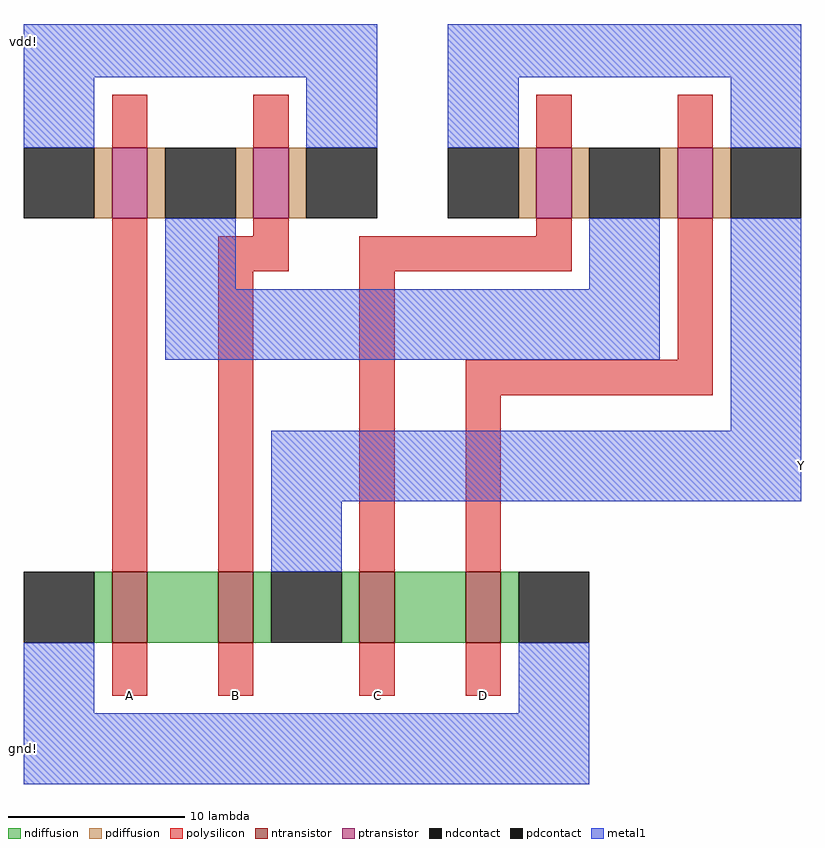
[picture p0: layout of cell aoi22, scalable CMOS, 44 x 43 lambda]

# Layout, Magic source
magic
tech scmos
<< ntransistor >>
rect 5 6 7 10
rect 11 6 13 10
rect 19 6 21 10
rect 25 6 27 10
<< ptransistor >>
rect 5 30 7 34
rect 13 30 15 34
rect 29 30 31 34
rect 37 30 39 34
<< ndiffusion >>
rect 4 6 5 10
rect 7 6 11 10
rect 13 6 14 10
rect 18 6 19 10
rect 21 6 25 10
rect 27 6 28 10
<< pdiffusion >>
rect 4 30 5 34
rect 7 30 8 34
rect 12 30 13 34
rect 15 30 16 34
rect 28 30 29 34
rect 31 30 32 34
rect 36 30 37 34
rect 39 30 40 34
<< ndcontact >>
rect 0 6 4 10
rect 14 6 18 10
rect 28 6 32 10
<< pdcontact >>
rect 0 30 4 34
rect 8 30 12 34
rect 16 30 20 34
rect 24 30 28 34
rect 32 30 36 34
rect 40 30 44 34
<< polysilicon >>
rect 5 34 7 37
rect 13 34 15 37
rect 29 34 31 37
rect 37 34 39 37
rect 5 10 7 30
rect 13 29 15 30
rect 29 29 31 30
rect 11 27 15 29
rect 19 27 31 29
rect 11 10 13 27
rect 19 10 21 27
rect 37 22 39 30
rect 25 20 39 22
rect 25 10 27 20
rect 5 3 7 6
rect 11 3 13 6
rect 19 3 21 6
rect 25 3 27 6
<< metal1 >>
rect 0 38 20 41
rect 0 34 4 38
rect 16 34 20 38
rect 24 38 44 41
rect 24 34 28 38
rect 40 34 44 38
rect 8 26 12 30
rect 32 26 36 30
rect 8 22 36 26
rect 40 18 44 30
rect 14 14 44 18
rect 14 10 18 14
rect 0 2 4 6
rect 28 2 32 6
rect 0 -2 32 2
<< labels >>
rlabel metal1 0 -2 0 2 2 gnd!
rlabel space 0 38 0 42 4 vdd!
rlabel metal1 44 14 44 18 7 Y
rlabel polysilicon 5 3 7 3 1 A
rlabel polysilicon 11 3 13 3 1 B
rlabel polysilicon 19 3 21 3 1 C
rlabel polysilicon 25 3 27 3 1 D
<< end >>
